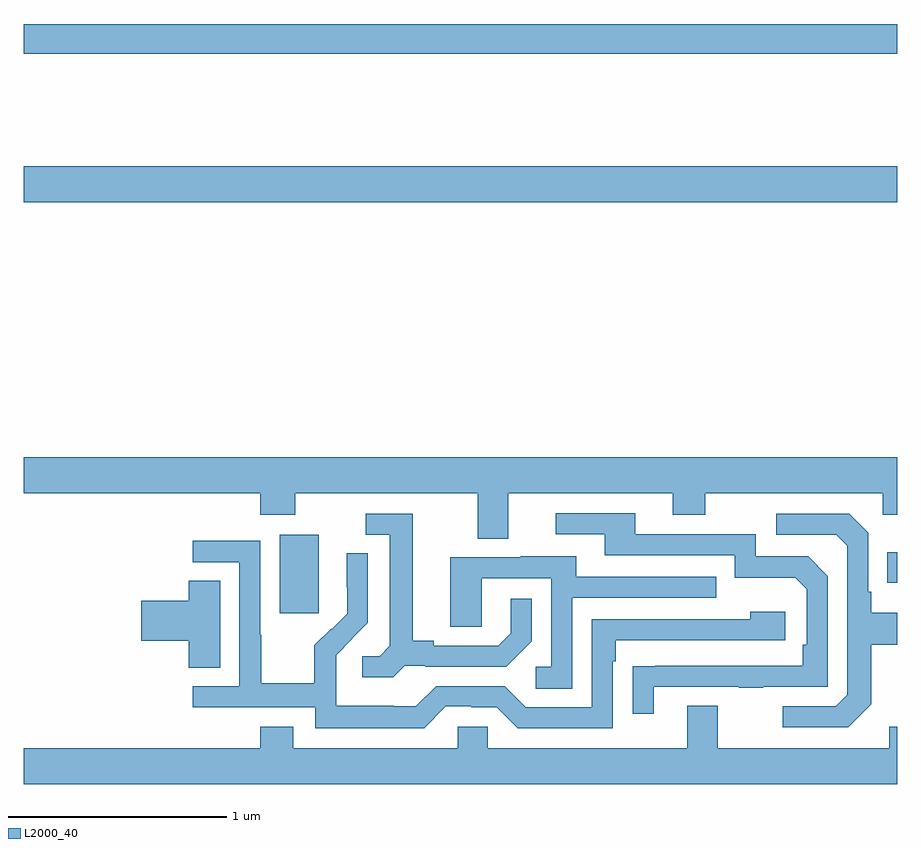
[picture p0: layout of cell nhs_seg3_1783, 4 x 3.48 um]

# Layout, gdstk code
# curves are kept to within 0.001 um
import gdstk
lib = gdstk.Library(unit=1e-6, precision=1e-09)
def R(c, l, rs):  # rectangles x0, y0, x1, y1
    for r in rs: c.add(gdstk.rectangle(r[:2], r[2:], *l))
def P(c, l, *ps):  # polygons
    for p in ps: c.add(gdstk.Polygon(p, *l))
L2000_40 = (2000, 40)

nhs_seg3_1783 = lib.new_cell('nhs_seg3_1783')
R(nhs_seg3_1783, L2000_40, [(204.173,701.697,204.352,702.058), (206.953,701.837,207,701.977), (203,703.58,207,703.744), (203,704.26,207,704.396)])
P(nhs_seg3_1783, L2000_40, [(205.219,702.248),(205.973,702.248),(205.973,702.149),(206.121,702.149),(206.121,702.248),(206.934,702.248),(206.934,702.149),(207,702.149),(207,702.412),(203,702.412),(203,702.248),(204.083,702.248),(204.083,702.149),(204.243,702.149),(204.243,702.248),(205.079,702.248),(205.079,702.04),(205.219,702.04)],
  [(205.885,701.361),(206.275,701.361),(206.275,701.356),(206.387,701.356),(206.387,701.361),(206.682,701.361),(206.682,701.868),(206.592,701.958),(206.352,701.958),(206.352,702.06),(205.801,702.06),(205.801,702.156),(205.437,702.156),(205.437,702.06),(205.661,702.06),(205.661,701.964),(206.256,701.964),(206.256,701.861),(206.533,701.861),(206.586,701.808),(206.586,701.554),(206.566,701.554),(206.566,701.457),(205.789,701.456),(205.789,701.238),(205.885,701.238)],
  [(204.744,701.457),(204.838,701.457),(204.838,701.454),(205.21,701.454),(205.326,701.57),(205.326,701.764),(205.229,701.764),(205.229,701.607),(205.172,701.55),(204.877,701.55),(204.877,701.573),(204.781,701.573),(204.781,702.153),(204.567,702.153),(204.567,702.057),(204.677,702.057),(204.677,701.549),(204.63,701.502),(204.549,701.502),(204.549,701.405),(204.692,701.405)],
  [(206.881,701.281),(206.881,701.554),(207,701.554),(207,701.701),(206.881,701.701),(206.881,701.797),(206.868,701.797),(206.868,702.066),(206.781,702.153),(206.445,702.153),(206.445,702.057),(206.721,702.057),(206.772,702.006),(206.772,701.325),(206.718,701.271),(206.475,701.271),(206.475,701.175),(206.775,701.175)],
  [(204.933,701.271),(205.049,701.271),(205.049,701.268),(205.167,701.268),(205.263,701.172),(205.698,701.172),(205.698,701.477),(205.711,701.477),(205.711,701.574),(206.488,701.574),(206.488,701.704),(206.327,701.704),(206.327,701.67),(205.602,701.67),(205.602,701.268),(205.299,701.268),(205.203,701.364),(204.888,701.364),(204.795,701.271),(204.695,701.271),(204.695,701.275),(204.432,701.275),(204.432,701.409),(204.43,701.409),(204.43,701.506),(204.576,701.654),(204.576,701.972),(204.48,701.972),(204.48,701.818),(204.482,701.818),(204.482,701.696),(204.411,701.625),(204.408,701.628),(204.331,701.551),(204.331,701.377),(204.087,701.377),(204.087,701.6),(204.084,701.6),(204.084,702.03),(203.775,702.03),(203.775,701.931),(203.988,701.931),(203.988,701.364),(203.775,701.364),(203.775,701.268),(204.336,701.268),(204.336,701.171),(204.833,701.171)],
  [(205.512,701.769),(206.171,701.769),(206.171,701.865),(205.531,701.865),(205.531,701.959),(205.277,701.959),(205.277,701.955),(204.953,701.955),(204.953,701.635),(205.098,701.635),(205.098,701.859),(205.416,701.859),(205.416,701.454),(205.344,701.454),(205.344,701.353),(205.512,701.353)],
  [(203.899,701.846),(203.756,701.846),(203.756,701.756),(203.538,701.756),(203.538,701.573),(203.756,701.573),(203.756,701.449),(203.899,701.449)],
  [(207,701.179),(206.963,701.179),(206.963,701.08),(206.179,701.08),(206.179,701.275),(206.039,701.275),(206.039,701.08),(205.125,701.08),(205.125,701.178),(204.987,701.178),(204.987,701.08),(204.235,701.08),(204.235,701.179),(204.083,701.179),(204.083,701.08),(203,701.08),(203,700.916),(207,700.916)])

lib.write_gds('nhs_seg3_1783.gds')
